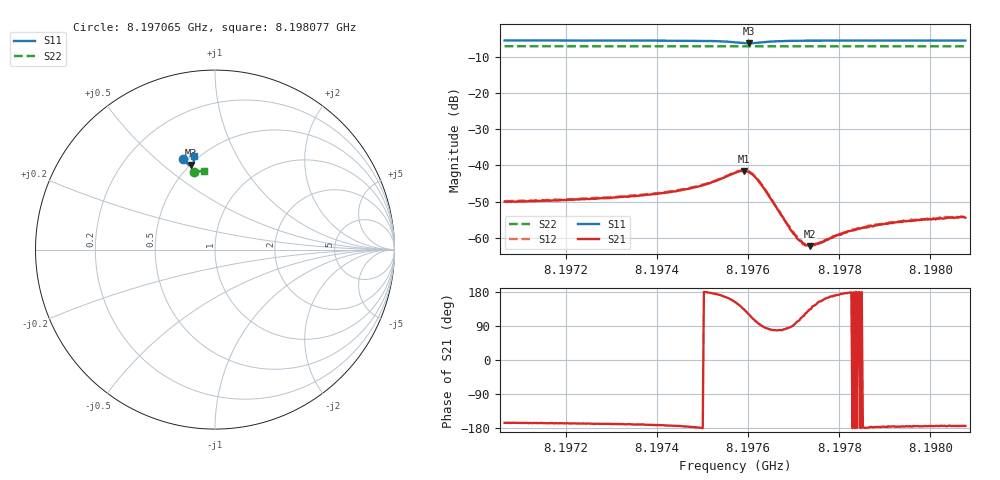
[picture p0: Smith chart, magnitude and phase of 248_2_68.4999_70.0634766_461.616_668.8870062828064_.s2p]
#  HZ  S  RI  R  50.00
! Rohde & Schwarz Vector Network Analyzer
! Rohde-Schwarz,ZNB20-2Port,1311601062101988,3.16
! Created: UTC 3/20/2024, 5:14:51 PM
! freq[Hz]  re:S11  im:S11  re:S21  im:S21  re:S12  im:S12  re:S22  im:S22
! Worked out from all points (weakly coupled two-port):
!   401 points, 8.197065 GHz to 8.198077 GHz, reference 50 ohm
!   highest |S21| = -41.51 dB at 8.197591 GHz (marker M1); lowest = -62.3 dB at 8.197735 GHz (marker M2)
!   lowest |S11| = -6.2 dB at 8.197601 GHz (marker M3), VSWR 2.91, Z = 25.3 + j31.3 ohm
!   |S11| at or under -10 dB: nowhere
!   |S22| runs from -7.1 to -7.0 dB; largest |S21 - S12| = 0.00038
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8.1970646e9  -0.1765 0.5059  -0.00307 -0.000777  -0.00312 -0.000676  -0.1147 0.431
8.1972342e9  -0.1633 0.5097  -0.00335 -0.000731  -0.00345 -0.000602  -0.1054 0.4332
8.1974038e9  -0.1476 0.5128  -0.00408 -0.000584  -0.00416 -0.000439  -0.0959 0.4349
8.1974924e9  -0.1347 0.5123  -0.00515 -0.00014  -0.00529 7.82e-05  -0.0907 0.4358
8.1975228e9  -0.1281 0.5096  -0.00592 0.000446  -0.00599 0.000674  -0.0891 0.436
8.1975709e9  -0.117 0.4916  -0.00705 0.00356  -0.00706 0.00387  -0.0861 0.436
8.1975912e9  -0.1234 0.476  -0.00572 0.00616  -0.00563 0.00649  -0.0853 0.4357
8.1976013e9  -0.1325 0.4708  -0.00408 0.00698  -0.00393 0.0073  -0.085 0.4358
8.1976139e9  -0.1454 0.4717  -0.00183 0.0068  -0.00159 0.00705  -0.0847 0.436
8.1976291e9  -0.1555 0.4803  -7.14e-05 0.00537  0.000183 0.00549  -0.084 0.4362
8.1976848e9  -0.154 0.5046  0.000175 0.00155  0.000247 0.00156  -0.0809 0.4373
8.1977051e9  -0.1508 0.5083  -0.000148 0.00104  -0.000123 0.00107  -0.0797 0.4377
8.1977177e9  -0.1488 0.5099  -0.000337 0.000817  -0.000294 0.000836  -0.079 0.4378
8.1977253e9  -0.1478 0.5108  -0.000427 0.00066  -0.000389 0.000721  -0.0787 0.4378
8.1977354e9  -0.1464 0.5117  -0.000529 0.000554  -0.000521 0.00062  -0.0781 0.4379
8.1977405e9  -0.1456 0.5122  -0.000596 0.000492  -0.000566 0.000545  -0.0776 0.438
8.1977608e9  -0.1431 0.5136  -0.000798 0.000355  -0.000777 0.000352  -0.0766 0.4383
8.1977962e9  -0.139 0.5156  -0.00108 0.00016  -0.00109 0.00022  -0.0745 0.4386
8.1978316e9  -0.1354 0.517  -0.00127 2.5e-05  -0.00131 8.08e-05  -0.0724 0.4387
8.1979101e9  -0.1283 0.5192  -0.00161 -0.000117  -0.00163 -3.55e-05  -0.0681 0.4394
8.1979835e9  -0.1222 0.5208  -0.00177 -0.000149  -0.0018 -0.000121  -0.0637 0.4398
8.1980772e9  -0.1148 0.5225  -0.00188 -0.000196  -0.00197 -0.000118  -0.0585 0.4405
